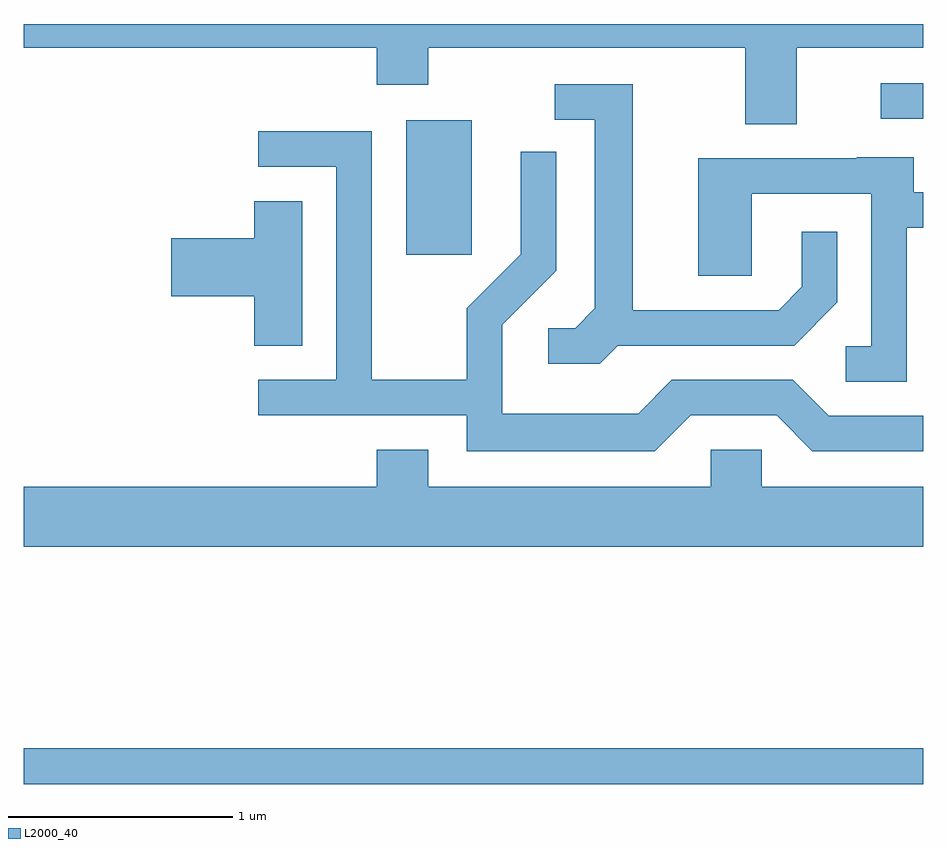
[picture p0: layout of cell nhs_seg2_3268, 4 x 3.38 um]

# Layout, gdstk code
import gdstk
lib = gdstk.Library(unit=1e-6, precision=1e-09)
def R(c, l, rs):  # rectangles x0, y0, x1, y1
    for r in rs: c.add(gdstk.rectangle(r[:2], r[2:], *l))
def P(c, l, *ps):  # polygons
    for p in ps: c.add(gdstk.Polygon(p, *l))
L2000_40 = (2000, 40)

nhs_seg2_3268 = lib.new_cell('nhs_seg2_3268')
R(nhs_seg2_3268, L2000_40, [(281.611,998.421,285.611,998.579), (283.311,1000.776,283.604,1001.374), (285.423,1001.381,285.611,1001.539)])
P(nhs_seg2_3268, L2000_40, [(285.049,1001.696),(285.611,1001.696),(285.611,1001.802),(281.611,1001.802),(281.611,1001.696),(283.181,1001.696),(283.181,1001.531),(283.409,1001.531),(283.409,1001.696),(284.821,1001.696),(284.821,1001.356),(285.049,1001.356)],
  [(284.252,1000.371),(285.037,1000.371),(285.229,1000.564),(285.229,1000.878),(285.071,1000.878),(285.071,1000.632),(284.969,1000.529),(284.319,1000.529),(284.319,1001.534),(283.973,1001.534),(283.973,1001.376),(284.151,1001.376),(284.151,1000.537),(284.064,1000.449),(283.943,1000.449),(283.943,1000.291),(284.172,1000.291)],
  [(284.577,1000.061),(284.959,1000.061),(285.119,999.901),(285.611,999.901),(285.611,1000.059),(285.192,1000.059),(285.032,1000.219),(284.494,1000.219),(284.344,1000.069),(283.739,1000.069),(283.739,1000.464),(283.979,1000.704),(283.979,1001.233),(283.821,1001.233),(283.821,1000.777),(283.581,1000.537),(283.581,1000.219),(283.159,1000.219),(283.159,1001.324),(282.653,1001.324),(282.653,1001.166),(283.001,1001.166),(283.001,1000.219),(282.653,1000.219),(282.653,1000.061),(283.581,1000.061),(283.581,999.901),(284.417,999.901)],
  [(285.539,1000.896),(285.611,1000.896),(285.611,1001.054),(285.569,1001.054),(285.569,1001.209),(285.315,1001.209),(285.315,1001.204),(284.611,1001.204),(284.611,1000.681),(284.849,1000.681),(284.849,1001.046),(285.381,1001.046),(285.381,1000.369),(285.268,1000.369),(285.268,1000.211),(285.539,1000.211)],
  [(282.849,1001.014),(282.636,1001.014),(282.636,1000.849),(282.266,1000.849),(282.266,1000.591),(282.636,1000.591),(282.636,1000.371),(282.849,1000.371)],
  [(285.611,999.744),(284.894,999.744),(284.894,999.909),(284.666,999.909),(284.666,999.744),(283.409,999.744),(283.409,999.909),(283.181,999.909),(283.181,999.744),(281.611,999.744),(281.611,999.476),(285.611,999.476)])

lib.write_gds('nhs_seg2_3268.gds')
